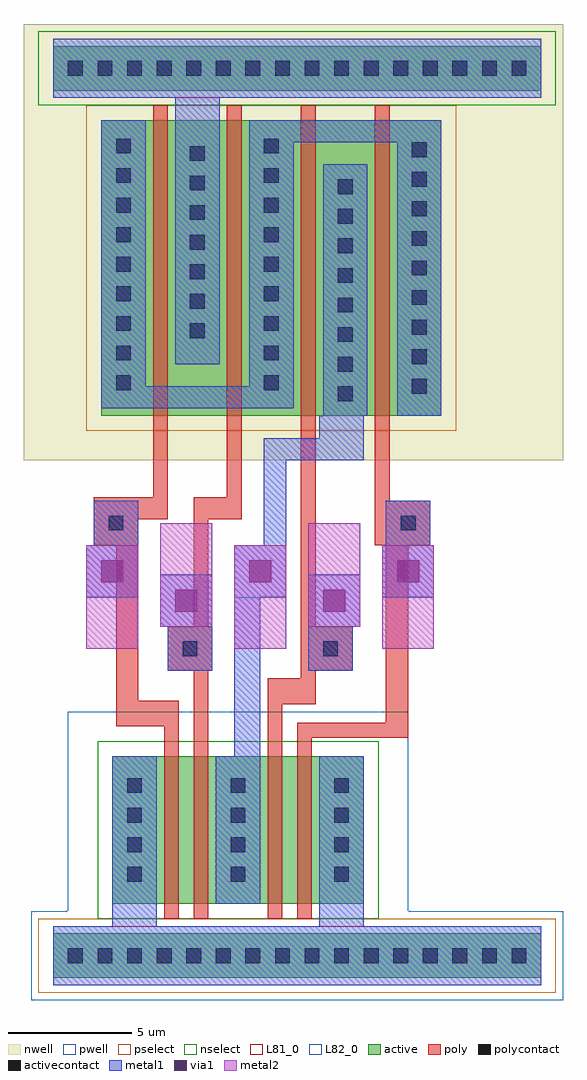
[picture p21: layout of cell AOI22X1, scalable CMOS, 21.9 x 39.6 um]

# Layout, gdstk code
import gdstk
lib = gdstk.Library(unit=1e-6, precision=1e-09)
def R(c, l, rs):  # rectangles x0, y0, x1, y1
    for r in rs: c.add(gdstk.rectangle(r[:2], r[2:], *l))
def A(c, l, x, y, w, h, nx, ny, dx, dy):  # array of equal rectangles
    R(c, l, [(x+i*dx, y+j*dy, x+i*dx+w, y+j*dy+h) for i in range(nx) for j in range(ny)])
pwell = (41, 0)
nwell = (42, 0)
active = (43, 0)
pselect = (44, 0)
nselect = (45, 0)
poly = (46, 0)
polycontact = (47, 0)
activecontact = (48, 0)
metal1 = (49, 0)
via1 = (50, 0)
metal2 = (51, 0)
L81_0 = (81, 0)
L82_0 = (82, 0)

aoi22x1 = lib.new_cell('AOI22X1')
R(aoi22x1, pwell, [(-1.8,-1.8,19.8,1.8), (-0.3,1.8,13.5,9.9)])
R(aoi22x1, nwell, [(-2.1,20.1,19.8,37.8)])
R(aoi22x1, active, [(-0.9,-0.9,18.9,0.9), (1.5,2.1,11.7,8.1), (1.05,21.9,14.85,33.9), (-0.9,35.1,18.9,36.9)])
R(aoi22x1, pselect, [(-1.5,-1.5,19.5,1.5), (0.45,21.3,15.45,34.5)])
R(aoi22x1, nselect, [(0.9,1.5,12.3,8.7), (-1.5,34.5,19.5,37.5)])
R(aoi22x1, poly, [(3.6,1.5,4.2,9.3), (4.8,1.5,5.4,11.55), (7.8,1.5,8.4,10.2), (9,1.5,9.6,8.85), (9,8.85,13.5,9.45), (1.65,9.3,4.2,10.35), (12.6,9.45,13.5,16.65), (7.8,10.2,9.75,11.25), (1.65,10.35,2.55,16.65), (9.15,11.25,9.75,11.55), (3.75,11.55,5.55,13.35), (9.15,11.55,11.25,13.35), (4.8,13.35,5.4,17.7), (9.15,13.35,9.75,34.5), (0.75,16.65,2.55,17.7), (12.15,16.65,14.4,18.45), (0.75,17.7,3.75,18.6), (4.8,17.7,6.75,18.6), (12.15,18.45,12.75,34.5), (3.15,18.6,3.75,34.5), (6.15,18.6,6.75,34.5)])
R(aoi22x1, polycontact, [(4.35,12.15,4.95,12.75), (10.05,12.15,10.65,12.75), (1.35,17.25,1.95,17.85), (13.2,17.25,13.8,17.85)])
A(aoi22x1, activecontact, -0.3, -0.3, 0.6, 0.6, 16, 2, 1.2, 36)
A(aoi22x1, activecontact, 2.1, 3, 0.6, 0.6, 3, 4, 4.2, 1.2)
A(aoi22x1, activecontact, 10.65, 22.5, 0.6, 0.6, 1, 8, 0, 1.2)
A(aoi22x1, activecontact, 13.65, 22.8, 0.6, 0.6, 1, 9, 0, 1.2)
A(aoi22x1, activecontact, 1.65, 22.95, 0.6, 0.6, 1, 9, 0, 1.2)
A(aoi22x1, activecontact, 7.65, 22.95, 0.6, 0.6, 1, 9, 0, 1.2)
A(aoi22x1, activecontact, 4.65, 25.05, 0.6, 0.6, 1, 7, 0, 1.2)
A(aoi22x1, metal1, 0.45, 14.55, 2.1, 2.1, 3, 1, 6, 0)
R(aoi22x1, metal1, [(-0.9,-1.2,18.9,1.2), (1.5,1.2,3.3,8.1), (9.9,1.2,11.7,8.1), (5.7,2.1,7.5,8.1), (6.45,8.1,7.5,14.55), (3.75,11.55,5.55,13.35), (9.45,11.55,11.25,13.35), (3.45,13.35,5.55,15.45), (9.45,13.35,11.55,15.45), (0.75,16.65,2.55,18.45), (7.65,16.65,8.55,20.1), (12.6,16.65,14.4,18.45), (7.65,20.1,11.7,21), (9.9,21,11.7,21.9), (10.05,21.9,11.85,32.1), (13.05,21.9,14.85,33), (1.05,22.2,8.85,23.1), (1.05,23.1,2.85,33.9), (7.05,23.1,8.85,33), (4.05,24,5.85,34.8), (7.05,33,14.85,33.9), (-0.9,34.8,18.9,37.2)])
A(aoi22x1, via1, 1.05, 15.15, 0.9, 0.9, 3, 1, 6, 0)
R(aoi22x1, via1, [(4.05,13.95,4.95,14.85), (10.05,13.95,10.95,14.85)])
A(aoi22x1, metal2, 0.45, 12.45, 2.1, 4.2, 3, 1, 6, 0)
R(aoi22x1, metal2, [(3.45,13.35,5.55,17.55), (9.45,13.35,11.55,17.55)])
R(aoi22x1, L81_0, [(-0.9,-1.2,18.9,1.2), (-0.9,34.8,18.9,37.2)])
A(aoi22x1, L82_0, 0.45, 12.45, 2.1, 2.1, 3, 1, 6, 0)
R(aoi22x1, L82_0, [(3.45,15.45,5.55,17.55), (9.45,15.45,11.55,17.55)])

lib.write_gds('AOI22X1.gds')
